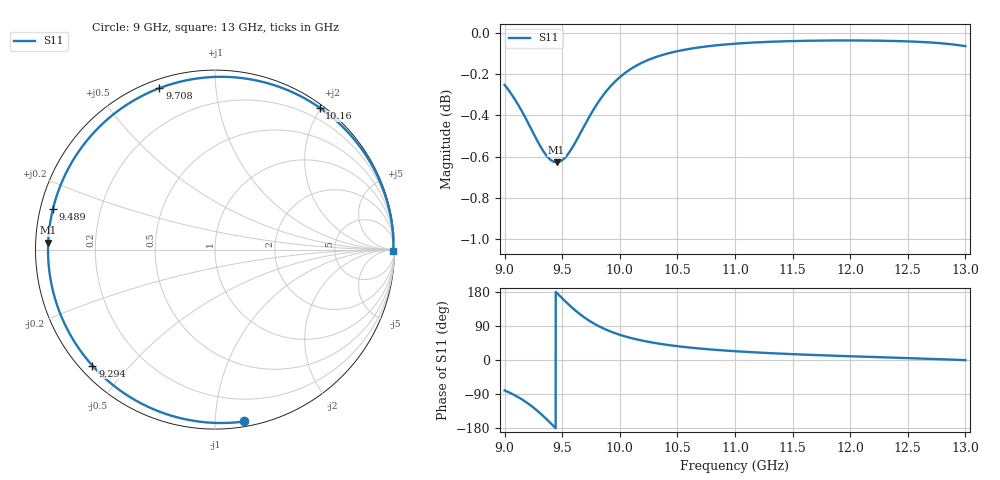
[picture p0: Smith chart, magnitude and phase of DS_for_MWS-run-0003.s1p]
! TOUCHSTONE file generated by CST DESIGN STUDIO
! Date and time: Tue Feb  4 14:25:28 2025
! Project name: C:\Work\MatlabApps\UnitCellOptimizationMatlab\CST\unitcell.cst
! Tree item: Tasks\Sweep1\SPara1\S-Parameters
! Header version: 2024
! Port assignment regex: !\s*Touchstone port\s*([0-9]+)\s*=\s*(CST MWS port|CST DES external port|CST DES block port)\s*(.+)\s* \(\"(.*)\"\)(\s*mode\s*([0-9]+))?.*
! Touchstone port assignment:
! Touchstone port 1 = CST DES external port 1 ("")
# GHz S MA R 50
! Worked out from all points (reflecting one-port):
!   4001 points, 9 GHz to 13 GHz, reference 50 ohm
!   lowest |S11| = -0.6 dB at 9.451 GHz (marker M1), VSWR 27.70, Z = 1.81 + j1.03 ohm
!   phase of S11 starts at -80 deg and turns -280 deg over the sweep
!   S11 on the Smith chart (normalised r, x): 9 GHz: 0.03, -1.18; 9.294 GHz: 0.04, -0.40; 9.489 GHz: 0.04, +0.12; 9.708 GHz: 0.04, +0.71; 10.16 GHz: 0.04, +1.98; 13 GHz: open
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9  0.9715 -80.3
9.091  0.9635 -93.5
9.165  0.9556 -106.8
9.231  0.9478 -120.9
9.294  0.9404 -136.6
9.335  0.9362 -147.8
9.378  0.9328 -160.2
9.415  0.9309 -171.4
9.451  0.9303 177.6
9.489  0.931 166.0
9.5  0.9314 162.7
9.555  0.935 146.7
9.605  0.9397 133.1
9.655  0.9453 120.7
9.708  0.9513 109.0
9.764  0.9573 98.2
9.828  0.9635 87.6
9.912  0.9702 76.2
10  0.9757 66.5
10.158  0.9825 53.6
10.313  0.9867 44.5
10.5  0.99 36.4
10.722  0.9924 29.5
11  0.9941 23.2
11.5  0.9956 15.4
12  0.9959 9.8
12.5  0.9954 5.0
13  0.9927 -0.5
